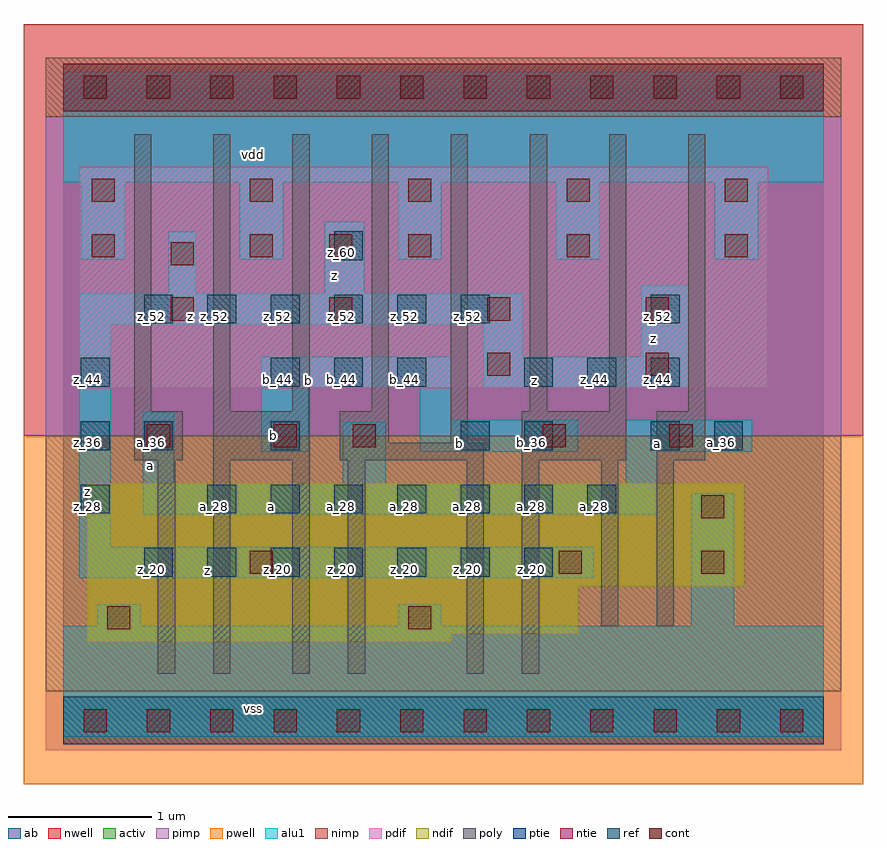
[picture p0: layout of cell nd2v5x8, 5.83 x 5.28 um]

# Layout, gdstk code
import gdstk
lib = gdstk.Library(unit=1e-6, precision=2.5e-09)
def R(c, l, rs):  # rectangles x0, y0, x1, y1
    for r in rs: c.add(gdstk.rectangle(r[:2], r[2:], *l))
def A(c, l, x, y, w, h, nx, ny, dx, dy):  # array of equal rectangles
    R(c, l, [(x+i*dx, y+j*dy, x+i*dx+w, y+j*dy+h) for i in range(nx) for j in range(ny)])
ndif = (3, 0)
pdif = (4, 0)
ntie = (5, 0)
ptie = (6, 0)
ref = (24, 0)
cont = (25, 0)
pwell = (41, 0)
nwell = (42, 0)
activ = (43, 0)
pimp = (44, 0)
nimp = (45, 0)
poly = (46, 0)
alu1 = (49, 0)
ab = (63, 0)

nd2v5x8 = lib.new_cell('nd2v5x8')
R(nd2v5x8, ndif, [(0.165,0.55,2.695,0.605), (0.165,0.605,3.575,0.935), (0.165,0.935,4.73,1.65)])
R(nd2v5x8, pdif, [(0.11,2.31,4.895,3.85)])
R(nd2v5x8, ntie, [(0,4.235,5.28,4.565)])
R(nd2v5x8, ptie, [(0,-0.165,5.28,0.165)])
A(nd2v5x8, ref, 0.56, 1, 0.2, 0.2, 7, 1, 0.44, 0)
A(nd2v5x8, ref, 0.12, 1.44, 0.2, 0.2, 1, 3, 0, 0.44)
A(nd2v5x8, ref, 1, 1.44, 0.2, 0.2, 7, 1, 0.44, 0)
A(nd2v5x8, ref, 1.44, 2.32, 0.2, 0.2, 3, 1, 0.44, 0)
A(nd2v5x8, ref, 3.2, 2.32, 0.2, 0.2, 3, 1, 0.44, 0)
A(nd2v5x8, ref, 0.56, 2.76, 0.2, 0.2, 6, 1, 0.44, 0)
R(nd2v5x8, ref, [(0.56,1.88,0.76,2.08), (1.44,1.88,1.64,2.08), (2.76,1.88,2.96,2.08), (3.2,1.88,3.4,2.08), (4.08,1.88,4.28,2.08), (4.52,1.88,4.72,2.08), (4.08,2.76,4.28,2.96), (1.88,3.2,2.08,3.4)])
A(nd2v5x8, cont, 0.14, -0.08, 0.16, 0.16, 12, 2, 0.44, 4.4)
A(nd2v5x8, cont, 0.745, 2.78, 0.16, 0.16, 4, 1, 1.1, 0)
A(nd2v5x8, cont, 1.295, 3.22, 0.16, 0.16, 3, 1, 0.55, 0)
A(nd2v5x8, cont, 0.195, 3.605, 0.16, 0.16, 5, 1, 1.1, 0)
R(nd2v5x8, cont, [(0.305,0.635,0.465,0.795), (2.395,0.635,2.555,0.795), (1.295,1.02,1.455,1.18), (3.44,1.02,3.6,1.18), (4.43,1.02,4.59,1.18), (4.43,1.405,4.59,1.565), (0.58,1.9,0.74,2.06), (1.46,1.9,1.62,2.06), (2.01,1.9,2.17,2.06), (3.33,1.9,3.49,2.06), (4.21,1.9,4.37,2.06), (2.945,2.395,3.105,2.555), (4.045,2.395,4.205,2.555), (0.745,3.165,0.905,3.325), (0.195,3.22,0.355,3.38), (3.495,3.22,3.655,3.38), (4.595,3.22,4.755,3.38)])
R(nd2v5x8, pwell, [(-0.275,-0.44,5.555,1.98)])
R(nd2v5x8, nwell, [(-0.275,1.98,5.555,4.84)])
R(nd2v5x8, activ, [(0,-0.165,5.28,0.165), (0.165,0.55,2.695,0.605), (0.165,0.605,3.575,0.935), (0.165,0.935,4.73,1.65), (0.11,2.31,4.895,3.85), (0,4.235,5.28,4.565)])
R(nd2v5x8, pimp, [(-0.125,-0.205,5.405,0.205), (-0.125,1.98,5.405,4.195)])
R(nd2v5x8, nimp, [(-0.125,0.205,5.405,1.98), (-0.125,4.195,5.405,4.605)])
A(nd2v5x8, poly, 0.49, 2.15, 0.12, 1.925, 4, 1, 0.55, 0)
A(nd2v5x8, poly, 3.24, 2.15, 0.12, 1.925, 3, 1, 0.55, 0)
R(nd2v5x8, poly, [(0.655,0.325,0.775,1.81), (1.04,0.325,1.16,1.81), (1.59,0.325,1.71,1.81), (1.975,0.325,2.095,1.81), (2.8,0.325,2.92,1.81), (3.185,0.325,3.305,1.81), (3.735,0.655,3.855,1.81), (4.12,0.655,4.24,1.81), (0.49,1.81,0.83,2.15), (1.04,1.81,1.71,2.15), (1.92,1.81,2.92,1.93), (3.185,1.81,3.91,2.15), (4.12,1.81,4.46,2.15), (1.92,1.93,2.26,2.15), (2.69,1.93,2.81,4.075)])
A(nd2v5x8, alu1, 0.125, 3.205, 0.3, 0.535, 5, 1, 1.1, 0)
R(nd2v5x8, alu1, [(0,-0.11,5.28,0.66), (0.235,0.66,0.535,0.81), (2.325,0.66,2.625,0.81), (4.36,0.66,4.66,1.58), (0.11,0.99,3.685,1.21), (0.11,1.21,0.33,2.75), (0.55,1.43,4.125,1.65), (0.55,1.65,0.77,2.145), (1.94,1.65,2.24,2.075), (3.905,1.65,4.125,1.87), (1.375,1.87,1.705,2.31), (2.475,1.87,3.575,2.09), (3.905,1.87,4.785,2.09), (2.475,2.09,2.695,2.31), (1.375,2.31,2.695,2.53), (2.915,2.31,4.345,2.53), (2.915,2.53,3.19,2.75), (4.015,2.53,4.345,3.025), (0.11,2.75,3.19,2.97), (0.73,2.97,0.92,3.395), (1.815,2.97,2.09,3.465), (0,3.74,5.28,4.51)])
R(nd2v5x8, ab, [(0,0,5.28,4.4)])
nd2v5x8.add(gdstk.Label('vss', (1.32,0.0825), layer=49, texttype=0))
nd2v5x8.add(gdstk.Label('z', (1.0025,1.045), layer=49, texttype=0))
nd2v5x8.add(gdstk.Label('a', (1.4425,1.485), layer=49, texttype=0))
nd2v5x8.add(gdstk.Label('a', (4.125,1.925), layer=49, texttype=0))
nd2v5x8.add(gdstk.Label('b', (2.75,1.925), layer=49, texttype=0))
nd2v5x8.add(gdstk.Label('b', (1.4575,1.98), layer=49, texttype=0))
nd2v5x8.add(gdstk.Label('a', (0.605,1.7725), layer=49, texttype=0))
nd2v5x8.add(gdstk.Label('z', (3.2725,2.365), layer=49, texttype=0))
nd2v5x8.add(gdstk.Label('b', (1.705,2.365), layer=49, texttype=0))
nd2v5x8.add(gdstk.Label('z', (4.0975,2.6525), layer=49, texttype=0))
nd2v5x8.add(gdstk.Label('z', (0.165,1.595), layer=49, texttype=0))
nd2v5x8.add(gdstk.Label('z', (0.88,2.805), layer=49, texttype=0))
nd2v5x8.add(gdstk.Label('z', (1.8825,3.0925), layer=49, texttype=0))
nd2v5x8.add(gdstk.Label('vdd', (1.32,3.9325), layer=49, texttype=0))
nd2v5x8.add(gdstk.Label('a_36', (4.57,1.93), layer=24, texttype=0))
nd2v5x8.add(gdstk.Label('z_52', (4.13,2.81), layer=24, texttype=0))
nd2v5x8.add(gdstk.Label('z_44', (4.13,2.37), layer=24, texttype=0))
nd2v5x8.add(gdstk.Label('a_36', (4.13,1.93), layer=24, texttype=0))
nd2v5x8.add(gdstk.Label('z_44', (3.69,2.37), layer=24, texttype=0))
nd2v5x8.add(gdstk.Label('a_28', (3.69,1.49), layer=24, texttype=0))
nd2v5x8.add(gdstk.Label('z_44', (3.25,2.37), layer=24, texttype=0))
nd2v5x8.add(gdstk.Label('b_36', (3.25,1.93), layer=24, texttype=0))
nd2v5x8.add(gdstk.Label('a_28', (3.25,1.49), layer=24, texttype=0))
nd2v5x8.add(gdstk.Label('z_20', (3.25,1.05), layer=24, texttype=0))
nd2v5x8.add(gdstk.Label('z_52', (2.81,2.81), layer=24, texttype=0))
nd2v5x8.add(gdstk.Label('b_36', (2.81,1.93), layer=24, texttype=0))
nd2v5x8.add(gdstk.Label('a_28', (2.81,1.49), layer=24, texttype=0))
nd2v5x8.add(gdstk.Label('z_20', (2.81,1.05), layer=24, texttype=0))
nd2v5x8.add(gdstk.Label('z_52', (2.37,2.81), layer=24, texttype=0))
nd2v5x8.add(gdstk.Label('b_44', (2.37,2.37), layer=24, texttype=0))
nd2v5x8.add(gdstk.Label('a_28', (2.37,1.49), layer=24, texttype=0))
nd2v5x8.add(gdstk.Label('z_20', (2.37,1.05), layer=24, texttype=0))
nd2v5x8.add(gdstk.Label('z_44', (0.17,2.37), layer=24, texttype=0))
nd2v5x8.add(gdstk.Label('z_36', (0.17,1.93), layer=24, texttype=0))
nd2v5x8.add(gdstk.Label('z_28', (0.17,1.49), layer=24, texttype=0))
nd2v5x8.add(gdstk.Label('z_60', (1.93,3.25), layer=24, texttype=0))
nd2v5x8.add(gdstk.Label('z_52', (1.93,2.81), layer=24, texttype=0))
nd2v5x8.add(gdstk.Label('b_44', (1.93,2.37), layer=24, texttype=0))
nd2v5x8.add(gdstk.Label('a_28', (1.93,1.49), layer=24, texttype=0))
nd2v5x8.add(gdstk.Label('z_20', (1.93,1.05), layer=24, texttype=0))
nd2v5x8.add(gdstk.Label('z_52', (1.49,2.81), layer=24, texttype=0))
nd2v5x8.add(gdstk.Label('b_44', (1.49,2.37), layer=24, texttype=0))
nd2v5x8.add(gdstk.Label('b_36', (1.49,1.93), layer=24, texttype=0))
nd2v5x8.add(gdstk.Label('a_28', (1.49,1.49), layer=24, texttype=0))
nd2v5x8.add(gdstk.Label('z_20', (1.49,1.05), layer=24, texttype=0))
nd2v5x8.add(gdstk.Label('z_52', (1.05,2.81), layer=24, texttype=0))
nd2v5x8.add(gdstk.Label('a_28', (1.05,1.49), layer=24, texttype=0))
nd2v5x8.add(gdstk.Label('z_20', (1.05,1.05), layer=24, texttype=0))
nd2v5x8.add(gdstk.Label('z_52', (0.61,2.81), layer=24, texttype=0))
nd2v5x8.add(gdstk.Label('a_36', (0.61,1.93), layer=24, texttype=0))
nd2v5x8.add(gdstk.Label('z_20', (0.61,1.05), layer=24, texttype=0))

lib.write_gds('nd2v5x8.gds')
